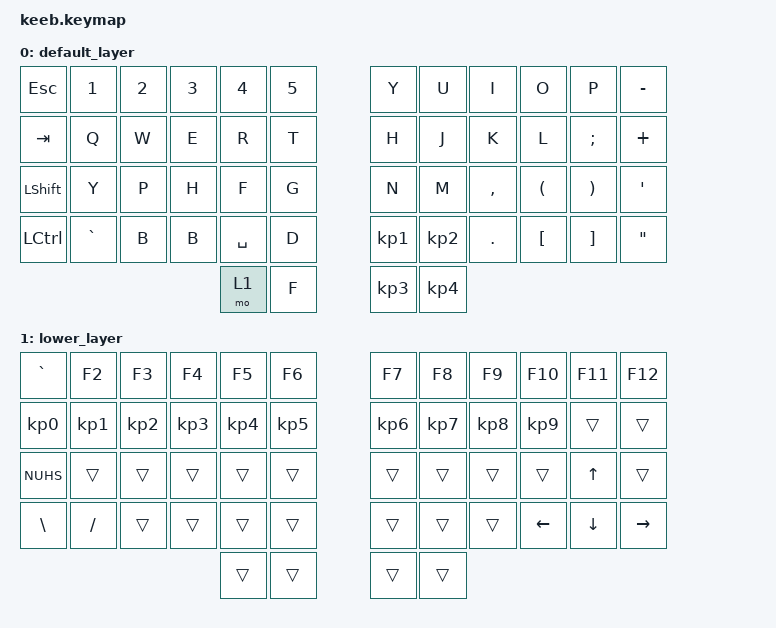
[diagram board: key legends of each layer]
#include <behaviors.dtsi>
#include <dt-bindings/zmk/keys.h>
#include <dt-bindings/zmk/bt.h>

/ {
    keymap {
        compatible = "zmk,keymap";
        default_layer {
            bindings = <
    &kp ESC    &kp N1    &kp N2 &kp N3 &kp N4    &kp N5    &kp Y     &kp U     &kp I     &kp O    &kp P    &kp MINUS
    &kp TAB    &kp Q     &kp W  &kp E  &kp R     &kp T     &kp H     &kp J     &kp K     &kp L    &kp SEMI &kp PLUS
    &kp LSHFT  &kp Y     &kp P  &kp H  &kp F     &kp G     &kp N     &kp M     &kp COMMA &kp LPAR &kp RPAR &kp SQT
    &kp LCTRL  &kp GRAVE &kp B  &kp B  &kp SPACE &kp D     &kp KP_N1 &kp KP_N2 &kp DOT   &kp LBKT &kp RBKT &kp DQT
                                       &mo 1     &kp F     &kp KP_N3 &kp KP_N4
            >;
        };
        lower_layer {
            bindings = <
    &kp GRAVE &kp F2    &kp F3    &kp F4    &kp F5    &kp F6    &kp F7    &kp F8    &kp F9    &kp F10   &kp F11   &kp F12
    &kp KP_N0 &kp KP_N1 &kp KP_N2 &kp KP_N3 &kp KP_N4 &kp KP_N5 &kp KP_N6 &kp KP_N7 &kp KP_N8 &kp KP_N9 &trans    &trans
    &kp NUHS  &trans    &trans    &trans    &trans    &trans    &trans    &trans    &trans    &trans    &kp UP    &trans
    &kp BSLH  &kp FSLH  &trans    &trans    &trans    &trans    &trans    &trans    &trans    &kp LEFT  &kp DOWN  &kp RIGHT
                                            &trans    &trans    &trans    &trans
            >;
        };
    };
};
